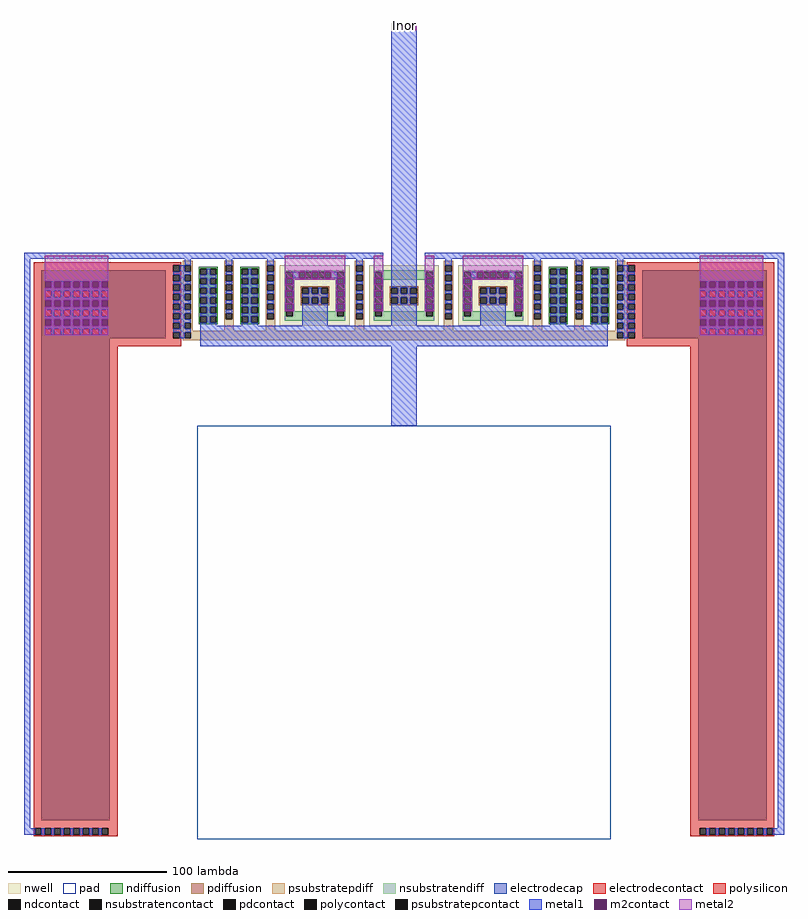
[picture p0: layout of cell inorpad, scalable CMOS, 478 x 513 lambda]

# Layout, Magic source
magic
tech scmos
<< nwell >>
rect 159 323 203 361
rect 215 323 259 361
rect 271 323 315 361
<< electrodecontact >>
rect 11 341 15 345
rect 17 341 21 345
rect 23 341 27 345
rect 29 341 33 345
rect 35 341 39 345
rect 41 341 45 345
rect 47 341 51 345
rect 11 329 15 333
rect 17 329 21 333
rect 23 329 27 333
rect 29 329 33 333
rect 35 329 39 333
rect 41 329 45 333
rect 47 329 51 333
rect 11 317 15 321
rect 17 317 21 321
rect 23 317 27 321
rect 29 317 33 321
rect 35 317 39 321
rect 41 317 45 321
rect 47 317 51 321
rect 423 341 427 345
rect 429 341 433 345
rect 435 341 439 345
rect 441 341 445 345
rect 447 341 451 345
rect 453 341 457 345
rect 459 341 463 345
rect 423 329 427 333
rect 429 329 433 333
rect 435 329 439 333
rect 441 329 445 333
rect 447 329 451 333
rect 453 329 457 333
rect 459 329 463 333
rect 423 317 427 321
rect 429 317 433 321
rect 435 317 439 321
rect 441 317 445 321
rect 447 317 451 321
rect 453 317 457 321
rect 459 317 463 321
<< electrodecap >>
rect 9 315 87 358
rect 387 315 465 358
rect 9 12 52 315
rect 422 12 465 315
<< ndiffusion >>
rect 108 359 120 360
rect 108 355 109 359
rect 113 355 115 359
rect 119 355 120 359
rect 108 353 120 355
rect 108 349 109 353
rect 113 349 115 353
rect 119 349 120 353
rect 108 347 120 349
rect 108 343 109 347
rect 113 343 115 347
rect 119 343 120 347
rect 108 341 120 343
rect 108 337 109 341
rect 113 337 115 341
rect 119 337 120 341
rect 108 335 120 337
rect 108 331 109 335
rect 113 331 115 335
rect 119 331 120 335
rect 108 329 120 331
rect 108 325 109 329
rect 113 325 115 329
rect 119 325 120 329
rect 108 324 120 325
rect 134 359 146 360
rect 134 355 135 359
rect 139 355 141 359
rect 145 355 146 359
rect 134 353 146 355
rect 134 349 135 353
rect 139 349 141 353
rect 145 349 146 353
rect 134 347 146 349
rect 134 343 135 347
rect 139 343 141 347
rect 145 343 146 347
rect 134 341 146 343
rect 134 337 135 341
rect 139 337 141 341
rect 145 337 146 341
rect 134 335 146 337
rect 134 331 135 335
rect 139 331 141 335
rect 145 331 146 335
rect 134 329 146 331
rect 134 325 135 329
rect 139 325 141 329
rect 145 325 146 329
rect 134 324 146 325
rect 328 359 340 360
rect 328 355 329 359
rect 333 355 335 359
rect 339 355 340 359
rect 328 353 340 355
rect 328 349 329 353
rect 333 349 335 353
rect 339 349 340 353
rect 328 347 340 349
rect 328 343 329 347
rect 333 343 335 347
rect 339 343 340 347
rect 328 341 340 343
rect 328 337 329 341
rect 333 337 335 341
rect 339 337 340 341
rect 328 335 340 337
rect 328 331 329 335
rect 333 331 335 335
rect 339 331 340 335
rect 328 329 340 331
rect 328 325 329 329
rect 333 325 335 329
rect 339 325 340 329
rect 328 324 340 325
rect 354 359 366 360
rect 354 355 355 359
rect 359 355 361 359
rect 365 355 366 359
rect 354 353 366 355
rect 354 349 355 353
rect 359 349 361 353
rect 365 349 366 353
rect 354 347 366 349
rect 354 343 355 347
rect 359 343 361 347
rect 365 343 366 347
rect 354 341 366 343
rect 354 337 355 341
rect 359 337 361 341
rect 365 337 366 341
rect 354 335 366 337
rect 354 331 355 335
rect 359 331 361 335
rect 365 331 366 335
rect 354 329 366 331
rect 354 325 355 329
rect 359 325 361 329
rect 365 325 366 329
rect 354 324 366 325
<< pdiffusion >>
rect 172 347 190 348
rect 172 343 173 347
rect 177 343 179 347
rect 183 343 185 347
rect 189 343 190 347
rect 172 341 190 343
rect 172 337 173 341
rect 177 337 179 341
rect 183 337 185 341
rect 189 337 190 341
rect 172 336 190 337
rect 228 347 246 348
rect 228 343 229 347
rect 233 343 235 347
rect 239 343 241 347
rect 245 343 246 347
rect 228 341 246 343
rect 228 337 229 341
rect 233 337 235 341
rect 239 337 241 341
rect 245 337 246 341
rect 228 336 246 337
rect 284 347 302 348
rect 284 343 285 347
rect 289 343 291 347
rect 295 343 297 347
rect 301 343 302 347
rect 284 341 302 343
rect 284 337 285 341
rect 289 337 291 341
rect 295 337 297 341
rect 301 337 302 341
rect 284 336 302 337
<< ndcontact >>
rect 109 355 113 359
rect 115 355 119 359
rect 109 349 113 353
rect 115 349 119 353
rect 109 343 113 347
rect 115 343 119 347
rect 109 337 113 341
rect 115 337 119 341
rect 109 331 113 335
rect 115 331 119 335
rect 109 325 113 329
rect 115 325 119 329
rect 135 355 139 359
rect 141 355 145 359
rect 135 349 139 353
rect 141 349 145 353
rect 135 343 139 347
rect 141 343 145 347
rect 135 337 139 341
rect 141 337 145 341
rect 135 331 139 335
rect 141 331 145 335
rect 135 325 139 329
rect 141 325 145 329
rect 329 355 333 359
rect 335 355 339 359
rect 329 349 333 353
rect 335 349 339 353
rect 329 343 333 347
rect 335 343 339 347
rect 329 337 333 341
rect 335 337 339 341
rect 329 331 333 335
rect 335 331 339 335
rect 329 325 333 329
rect 335 325 339 329
rect 355 355 359 359
rect 361 355 365 359
rect 355 349 359 353
rect 361 349 365 353
rect 355 343 359 347
rect 361 343 365 347
rect 355 337 359 341
rect 361 337 365 341
rect 355 331 359 335
rect 361 331 365 335
rect 355 325 359 329
rect 361 325 365 329
<< pdcontact >>
rect 173 343 177 347
rect 179 343 183 347
rect 185 343 189 347
rect 173 337 177 341
rect 179 337 183 341
rect 185 337 189 341
rect 229 343 233 347
rect 235 343 239 347
rect 241 343 245 347
rect 229 337 233 341
rect 235 337 239 341
rect 241 337 245 341
rect 285 343 289 347
rect 291 343 295 347
rect 297 343 301 347
rect 285 337 289 341
rect 291 337 295 341
rect 297 337 301 341
<< psubstratepdiff >>
rect 98 361 104 364
rect 98 357 99 361
rect 103 357 104 361
rect 124 361 130 364
rect 98 355 104 357
rect 98 351 99 355
rect 103 351 104 355
rect 98 349 104 351
rect 98 345 99 349
rect 103 345 104 349
rect 98 343 104 345
rect 98 339 99 343
rect 103 339 104 343
rect 98 337 104 339
rect 98 333 99 337
rect 103 333 104 337
rect 98 331 104 333
rect 98 327 99 331
rect 103 327 104 331
rect 98 325 104 327
rect 98 321 99 325
rect 103 321 104 325
rect 124 357 125 361
rect 129 357 130 361
rect 150 361 156 364
rect 124 355 130 357
rect 124 351 125 355
rect 129 351 130 355
rect 124 349 130 351
rect 124 345 125 349
rect 129 345 130 349
rect 124 343 130 345
rect 124 339 125 343
rect 129 339 130 343
rect 124 337 130 339
rect 124 333 125 337
rect 129 333 130 337
rect 124 331 130 333
rect 124 327 125 331
rect 129 327 130 331
rect 98 320 104 321
rect 124 320 130 327
rect 150 357 151 361
rect 155 357 156 361
rect 206 361 212 364
rect 150 355 156 357
rect 150 351 151 355
rect 155 351 156 355
rect 150 349 156 351
rect 150 345 151 349
rect 155 345 156 349
rect 150 343 156 345
rect 150 339 151 343
rect 155 339 156 343
rect 150 337 156 339
rect 150 333 151 337
rect 155 333 156 337
rect 150 331 156 333
rect 150 327 151 331
rect 155 327 156 331
rect 150 320 156 327
rect 206 357 207 361
rect 211 357 212 361
rect 262 361 268 364
rect 206 355 212 357
rect 206 351 207 355
rect 211 351 212 355
rect 206 349 212 351
rect 206 345 207 349
rect 211 345 212 349
rect 206 343 212 345
rect 206 339 207 343
rect 211 339 212 343
rect 206 337 212 339
rect 206 333 207 337
rect 211 333 212 337
rect 206 331 212 333
rect 206 327 207 331
rect 211 327 212 331
rect 206 320 212 327
rect 262 357 263 361
rect 267 357 268 361
rect 318 361 324 364
rect 262 355 268 357
rect 262 351 263 355
rect 267 351 268 355
rect 262 349 268 351
rect 262 345 263 349
rect 267 345 268 349
rect 262 343 268 345
rect 262 339 263 343
rect 267 339 268 343
rect 262 337 268 339
rect 262 333 263 337
rect 267 333 268 337
rect 262 331 268 333
rect 262 327 263 331
rect 267 327 268 331
rect 262 320 268 327
rect 318 357 319 361
rect 323 357 324 361
rect 344 361 350 364
rect 318 355 324 357
rect 318 351 319 355
rect 323 351 324 355
rect 318 349 324 351
rect 318 345 319 349
rect 323 345 324 349
rect 318 343 324 345
rect 318 339 319 343
rect 323 339 324 343
rect 318 337 324 339
rect 318 333 319 337
rect 323 333 324 337
rect 318 331 324 333
rect 318 327 319 331
rect 323 327 324 331
rect 318 320 324 327
rect 344 357 345 361
rect 349 357 350 361
rect 370 361 376 364
rect 344 355 350 357
rect 344 351 345 355
rect 349 351 350 355
rect 344 349 350 351
rect 344 345 345 349
rect 349 345 350 349
rect 344 343 350 345
rect 344 339 345 343
rect 349 339 350 343
rect 344 337 350 339
rect 344 333 345 337
rect 349 333 350 337
rect 344 331 350 333
rect 344 327 345 331
rect 349 327 350 331
rect 344 320 350 327
rect 370 357 371 361
rect 375 357 376 361
rect 370 355 376 357
rect 370 351 371 355
rect 375 351 376 355
rect 370 349 376 351
rect 370 345 371 349
rect 375 345 376 349
rect 370 343 376 345
rect 370 339 371 343
rect 375 339 376 343
rect 370 337 376 339
rect 370 333 371 337
rect 375 333 376 337
rect 370 331 376 333
rect 370 327 371 331
rect 375 327 376 331
rect 370 325 376 327
rect 370 321 371 325
rect 375 321 376 325
rect 370 320 376 321
rect 98 319 376 320
rect 98 315 99 319
rect 103 315 371 319
rect 375 315 376 319
rect 98 314 376 315
<< nsubstratendiff >>
rect 162 357 200 358
rect 162 353 163 357
rect 167 353 175 357
rect 179 353 183 357
rect 187 353 195 357
rect 199 353 200 357
rect 162 352 200 353
rect 162 349 168 352
rect 162 345 163 349
rect 167 345 168 349
rect 194 349 200 352
rect 162 341 168 345
rect 162 337 163 341
rect 167 337 168 341
rect 162 333 168 337
rect 194 345 195 349
rect 199 345 200 349
rect 194 341 200 345
rect 194 337 195 341
rect 199 337 200 341
rect 162 329 163 333
rect 167 332 168 333
rect 194 333 200 337
rect 194 332 195 333
rect 167 329 195 332
rect 199 329 200 333
rect 162 326 200 329
rect 218 357 256 358
rect 218 353 219 357
rect 223 353 251 357
rect 255 353 256 357
rect 218 352 256 353
rect 218 349 224 352
rect 218 345 219 349
rect 223 345 224 349
rect 250 349 256 352
rect 218 341 224 345
rect 218 337 219 341
rect 223 337 224 341
rect 218 333 224 337
rect 250 345 251 349
rect 255 345 256 349
rect 250 341 256 345
rect 250 337 251 341
rect 255 337 256 341
rect 218 329 219 333
rect 223 332 224 333
rect 250 333 256 337
rect 250 332 251 333
rect 223 329 251 332
rect 255 329 256 333
rect 218 326 256 329
rect 274 357 312 358
rect 274 353 275 357
rect 279 353 287 357
rect 291 353 295 357
rect 299 353 307 357
rect 311 353 312 357
rect 274 352 312 353
rect 274 349 280 352
rect 274 345 275 349
rect 279 345 280 349
rect 306 349 312 352
rect 274 341 280 345
rect 274 337 275 341
rect 279 337 280 341
rect 274 333 280 337
rect 306 345 307 349
rect 311 345 312 349
rect 306 341 312 345
rect 306 337 307 341
rect 311 337 312 341
rect 274 329 275 333
rect 279 332 280 333
rect 306 333 312 337
rect 306 332 307 333
rect 279 329 307 332
rect 311 329 312 333
rect 274 326 312 329
<< psubstratepcontact >>
rect 99 357 103 361
rect 99 351 103 355
rect 99 345 103 349
rect 99 339 103 343
rect 99 333 103 337
rect 99 327 103 331
rect 99 321 103 325
rect 125 357 129 361
rect 125 351 129 355
rect 125 345 129 349
rect 125 339 129 343
rect 125 333 129 337
rect 125 327 129 331
rect 151 357 155 361
rect 151 351 155 355
rect 151 345 155 349
rect 151 339 155 343
rect 151 333 155 337
rect 151 327 155 331
rect 207 357 211 361
rect 207 351 211 355
rect 207 345 211 349
rect 207 339 211 343
rect 207 333 211 337
rect 207 327 211 331
rect 263 357 267 361
rect 263 351 267 355
rect 263 345 267 349
rect 263 339 267 343
rect 263 333 267 337
rect 263 327 267 331
rect 319 357 323 361
rect 319 351 323 355
rect 319 345 323 349
rect 319 339 323 343
rect 319 333 323 337
rect 319 327 323 331
rect 345 357 349 361
rect 345 351 349 355
rect 345 345 349 349
rect 345 339 349 343
rect 345 333 349 337
rect 345 327 349 331
rect 371 357 375 361
rect 371 351 375 355
rect 371 345 375 349
rect 371 339 375 343
rect 371 333 375 337
rect 371 327 375 331
rect 371 321 375 325
rect 99 315 103 319
rect 371 315 375 319
<< nsubstratencontact >>
rect 163 353 167 357
rect 175 353 179 357
rect 183 353 187 357
rect 195 353 199 357
rect 163 345 167 349
rect 163 337 167 341
rect 195 345 199 349
rect 195 337 199 341
rect 163 329 167 333
rect 195 329 199 333
rect 219 353 223 357
rect 251 353 255 357
rect 219 345 223 349
rect 219 337 223 341
rect 251 345 255 349
rect 251 337 255 341
rect 219 329 223 333
rect 251 329 255 333
rect 275 353 279 357
rect 287 353 291 357
rect 295 353 299 357
rect 307 353 311 357
rect 275 345 279 349
rect 275 337 279 341
rect 307 345 311 349
rect 307 337 311 341
rect 275 329 279 333
rect 307 329 311 333
<< polysilicon >>
rect 4 361 97 363
rect 4 357 92 361
rect 96 357 97 361
rect 4 355 97 357
rect 4 351 92 355
rect 96 351 97 355
rect 4 349 97 351
rect 4 345 92 349
rect 96 345 97 349
rect 4 343 97 345
rect 4 339 92 343
rect 96 339 97 343
rect 4 337 97 339
rect 4 333 92 337
rect 96 333 97 337
rect 4 331 97 333
rect 4 327 92 331
rect 96 327 97 331
rect 4 325 97 327
rect 4 321 92 325
rect 96 321 97 325
rect 4 319 97 321
rect 4 315 92 319
rect 96 315 97 319
rect 4 310 97 315
rect 377 361 470 363
rect 377 357 378 361
rect 382 357 470 361
rect 377 355 470 357
rect 377 351 378 355
rect 382 351 470 355
rect 377 349 470 351
rect 377 345 378 349
rect 382 345 470 349
rect 377 343 470 345
rect 377 339 378 343
rect 382 339 470 343
rect 377 337 470 339
rect 377 333 378 337
rect 382 333 470 337
rect 377 331 470 333
rect 377 327 378 331
rect 382 327 470 331
rect 377 325 470 327
rect 377 321 378 325
rect 382 321 470 325
rect 377 319 470 321
rect 377 315 378 319
rect 382 315 470 319
rect 377 310 470 315
rect 4 7 57 310
rect 4 3 5 7
rect 9 3 11 7
rect 15 3 17 7
rect 21 3 23 7
rect 27 3 29 7
rect 33 3 35 7
rect 39 3 41 7
rect 45 3 47 7
rect 51 3 57 7
rect 4 2 57 3
rect 417 7 470 310
rect 417 3 423 7
rect 427 3 429 7
rect 433 3 435 7
rect 439 3 441 7
rect 445 3 447 7
rect 451 3 453 7
rect 457 3 459 7
rect 463 3 465 7
rect 469 3 470 7
rect 417 2 470 3
<< polycontact >>
rect 92 357 96 361
rect 92 351 96 355
rect 92 345 96 349
rect 92 339 96 343
rect 92 333 96 337
rect 92 327 96 331
rect 92 321 96 325
rect 92 315 96 319
rect 378 357 382 361
rect 378 351 382 355
rect 378 345 382 349
rect 378 339 382 343
rect 378 333 382 337
rect 378 327 382 331
rect 378 321 382 325
rect 378 315 382 319
rect 5 3 9 7
rect 11 3 15 7
rect 17 3 21 7
rect 23 3 27 7
rect 29 3 33 7
rect 35 3 39 7
rect 41 3 45 7
rect 47 3 51 7
rect 423 3 427 7
rect 429 3 433 7
rect 435 3 439 7
rect 441 3 445 7
rect 447 3 451 7
rect 453 3 457 7
rect 459 3 463 7
rect 465 3 469 7
<< metal1 >>
rect 229 509 230 513
rect 244 509 245 513
rect -2 365 224 369
rect -2 7 2 365
rect 99 361 103 365
rect 96 357 99 361
rect 125 361 129 365
rect 92 355 103 357
rect 96 351 99 355
rect 15 347 17 351
rect 21 347 23 351
rect 27 347 29 351
rect 33 347 35 351
rect 39 347 41 351
rect 45 347 47 351
rect 11 345 51 347
rect 15 341 17 345
rect 21 341 23 345
rect 27 341 29 345
rect 33 341 35 345
rect 39 341 41 345
rect 45 341 47 345
rect 11 339 51 341
rect 15 335 17 339
rect 21 335 23 339
rect 27 335 29 339
rect 33 335 35 339
rect 39 335 41 339
rect 45 335 47 339
rect 11 333 51 335
rect 15 329 17 333
rect 21 329 23 333
rect 27 329 29 333
rect 33 329 35 333
rect 39 329 41 333
rect 45 329 47 333
rect 11 327 51 329
rect 15 323 17 327
rect 21 323 23 327
rect 27 323 29 327
rect 33 323 35 327
rect 39 323 41 327
rect 45 323 47 327
rect 11 321 51 323
rect 15 317 17 321
rect 21 317 23 321
rect 27 317 29 321
rect 33 317 35 321
rect 39 317 41 321
rect 45 317 47 321
rect 92 349 103 351
rect 96 345 99 349
rect 92 343 103 345
rect 96 339 99 343
rect 92 337 103 339
rect 96 333 99 337
rect 92 331 103 333
rect 96 327 99 331
rect 92 325 103 327
rect 96 321 99 325
rect 92 319 103 321
rect 96 315 99 319
rect 113 355 115 359
rect 109 353 119 355
rect 113 349 115 353
rect 109 347 119 349
rect 113 343 115 347
rect 109 341 119 343
rect 113 337 115 341
rect 109 335 119 337
rect 113 331 115 335
rect 109 329 119 331
rect 113 325 115 329
rect 151 361 155 365
rect 125 355 129 357
rect 125 349 129 351
rect 125 343 129 345
rect 125 337 129 339
rect 125 331 129 333
rect 139 355 141 359
rect 135 353 145 355
rect 139 349 141 353
rect 135 347 145 349
rect 139 343 141 347
rect 135 341 145 343
rect 139 337 141 341
rect 135 335 145 337
rect 139 331 141 335
rect 135 329 145 331
rect 109 323 119 325
rect 139 325 141 329
rect 207 361 211 365
rect 151 355 155 357
rect 151 349 155 351
rect 151 343 155 345
rect 151 337 155 339
rect 151 331 155 333
rect 167 353 171 357
rect 191 353 195 357
rect 177 343 179 347
rect 183 343 185 347
rect 173 341 189 343
rect 177 337 179 341
rect 183 337 185 341
rect 135 323 145 325
rect 173 323 189 337
rect 207 355 211 357
rect 207 349 211 351
rect 207 343 211 345
rect 207 337 211 339
rect 207 331 211 333
rect 229 347 245 509
rect 250 365 476 369
rect 263 361 267 365
rect 319 361 323 365
rect 345 361 349 365
rect 233 343 235 347
rect 239 343 241 347
rect 229 341 245 343
rect 233 337 235 341
rect 239 337 241 341
rect 229 323 245 337
rect 263 355 267 357
rect 263 349 267 351
rect 263 343 267 345
rect 263 337 267 339
rect 263 331 267 333
rect 279 353 283 357
rect 303 353 307 357
rect 289 343 291 347
rect 295 343 297 347
rect 285 341 301 343
rect 289 337 291 341
rect 295 337 297 341
rect 285 323 301 337
rect 319 355 323 357
rect 319 349 323 351
rect 319 343 323 345
rect 319 337 323 339
rect 319 331 323 333
rect 333 355 335 359
rect 329 353 339 355
rect 333 349 335 353
rect 329 347 339 349
rect 333 343 335 347
rect 329 341 339 343
rect 333 337 335 341
rect 329 335 339 337
rect 333 331 335 335
rect 329 329 339 331
rect 333 325 335 329
rect 371 361 375 365
rect 345 355 349 357
rect 345 349 349 351
rect 345 343 349 345
rect 345 337 349 339
rect 345 331 349 333
rect 359 355 361 359
rect 355 353 365 355
rect 359 349 361 353
rect 355 347 365 349
rect 359 343 361 347
rect 355 341 365 343
rect 359 337 361 341
rect 355 335 365 337
rect 359 331 361 335
rect 355 329 365 331
rect 329 323 339 325
rect 359 325 361 329
rect 355 323 365 325
rect 109 310 365 323
rect 375 357 378 361
rect 371 355 382 357
rect 375 351 378 355
rect 371 349 382 351
rect 375 345 378 349
rect 371 343 382 345
rect 375 339 378 343
rect 371 337 382 339
rect 375 333 378 337
rect 371 331 382 333
rect 375 327 378 331
rect 371 325 382 327
rect 375 321 378 325
rect 371 319 382 321
rect 375 315 378 319
rect 427 347 429 351
rect 433 347 435 351
rect 439 347 441 351
rect 445 347 447 351
rect 451 347 453 351
rect 457 347 459 351
rect 423 345 463 347
rect 427 341 429 345
rect 433 341 435 345
rect 439 341 441 345
rect 445 341 447 345
rect 451 341 453 345
rect 457 341 459 345
rect 423 339 463 341
rect 427 335 429 339
rect 433 335 435 339
rect 439 335 441 339
rect 445 335 447 339
rect 451 335 453 339
rect 457 335 459 339
rect 423 333 463 335
rect 427 329 429 333
rect 433 329 435 333
rect 439 329 441 333
rect 445 329 447 333
rect 451 329 453 333
rect 457 329 459 333
rect 423 327 463 329
rect 427 323 429 327
rect 433 323 435 327
rect 439 323 441 327
rect 445 323 447 327
rect 451 323 453 327
rect 457 323 459 327
rect 423 321 463 323
rect 427 317 429 321
rect 433 317 435 321
rect 439 317 441 321
rect 445 317 447 321
rect 451 317 453 321
rect 457 317 459 321
rect 229 260 245 310
rect 472 7 476 365
rect -2 3 5 7
rect 9 3 11 7
rect 15 3 17 7
rect 21 3 23 7
rect 27 3 29 7
rect 33 3 35 7
rect 39 3 41 7
rect 45 3 47 7
rect 427 3 429 7
rect 433 3 435 7
rect 439 3 441 7
rect 445 3 447 7
rect 451 3 453 7
rect 457 3 459 7
rect 463 3 465 7
rect 469 3 476 7
<< m2contact >>
rect 230 509 244 513
rect 11 347 15 351
rect 17 347 21 351
rect 23 347 27 351
rect 29 347 33 351
rect 35 347 39 351
rect 41 347 45 351
rect 47 347 51 351
rect 11 335 15 339
rect 17 335 21 339
rect 23 335 27 339
rect 29 335 33 339
rect 35 335 39 339
rect 41 335 45 339
rect 47 335 51 339
rect 11 323 15 327
rect 17 323 21 327
rect 23 323 27 327
rect 29 323 33 327
rect 35 323 39 327
rect 41 323 45 327
rect 47 323 51 327
rect 171 353 175 357
rect 179 353 183 357
rect 187 353 191 357
rect 163 349 167 353
rect 195 349 199 353
rect 163 341 167 345
rect 163 333 167 337
rect 195 341 199 345
rect 195 333 199 337
rect 219 349 223 353
rect 219 341 223 345
rect 219 333 223 337
rect 251 349 255 353
rect 251 341 255 345
rect 251 333 255 337
rect 283 353 287 357
rect 291 353 295 357
rect 299 353 303 357
rect 275 349 279 353
rect 307 349 311 353
rect 275 341 279 345
rect 275 333 279 337
rect 307 341 311 345
rect 307 333 311 337
rect 423 347 427 351
rect 429 347 433 351
rect 435 347 439 351
rect 441 347 445 351
rect 447 347 451 351
rect 453 347 457 351
rect 459 347 463 351
rect 423 335 427 339
rect 429 335 433 339
rect 435 335 439 339
rect 441 335 445 339
rect 447 335 451 339
rect 453 335 457 339
rect 459 335 463 339
rect 423 323 427 327
rect 429 323 433 327
rect 435 323 439 327
rect 441 323 445 327
rect 447 323 451 327
rect 453 323 457 327
rect 459 323 463 327
<< metal2 >>
rect 229 509 230 513
rect 244 509 245 513
rect 11 351 51 367
rect 15 347 17 351
rect 21 347 23 351
rect 27 347 29 351
rect 33 347 35 351
rect 39 347 41 351
rect 45 347 47 351
rect 11 339 51 347
rect 15 335 17 339
rect 21 335 23 339
rect 27 335 29 339
rect 33 335 35 339
rect 39 335 41 339
rect 45 335 47 339
rect 11 327 51 335
rect 162 357 200 367
rect 162 353 171 357
rect 175 353 179 357
rect 183 353 187 357
rect 191 353 200 357
rect 162 349 163 353
rect 167 352 195 353
rect 167 349 168 352
rect 162 345 168 349
rect 162 341 163 345
rect 167 341 168 345
rect 162 337 168 341
rect 162 333 163 337
rect 167 333 168 337
rect 162 332 168 333
rect 194 349 195 352
rect 199 349 200 353
rect 194 345 200 349
rect 194 341 195 345
rect 199 341 200 345
rect 194 337 200 341
rect 194 333 195 337
rect 199 333 200 337
rect 194 332 200 333
rect 218 353 224 367
rect 218 349 219 353
rect 223 349 224 353
rect 218 345 224 349
rect 218 341 219 345
rect 223 341 224 345
rect 218 337 224 341
rect 218 333 219 337
rect 223 333 224 337
rect 218 332 224 333
rect 250 353 256 367
rect 250 349 251 353
rect 255 349 256 353
rect 250 345 256 349
rect 250 341 251 345
rect 255 341 256 345
rect 250 337 256 341
rect 250 333 251 337
rect 255 333 256 337
rect 250 332 256 333
rect 274 357 312 367
rect 274 353 283 357
rect 287 353 291 357
rect 295 353 299 357
rect 303 353 312 357
rect 274 349 275 353
rect 279 352 307 353
rect 279 349 280 352
rect 274 345 280 349
rect 274 341 275 345
rect 279 341 280 345
rect 274 337 280 341
rect 274 333 275 337
rect 279 333 280 337
rect 274 332 280 333
rect 306 349 307 352
rect 311 349 312 353
rect 306 345 312 349
rect 306 341 307 345
rect 311 341 312 345
rect 306 337 312 341
rect 306 333 307 337
rect 311 333 312 337
rect 306 332 312 333
rect 423 351 463 367
rect 427 347 429 351
rect 433 347 435 351
rect 439 347 441 351
rect 445 347 447 351
rect 451 347 453 351
rect 457 347 459 351
rect 423 339 463 347
rect 427 335 429 339
rect 433 335 435 339
rect 439 335 441 339
rect 445 335 447 339
rect 451 335 453 339
rect 457 335 459 339
rect 15 323 17 327
rect 21 323 23 327
rect 27 323 29 327
rect 33 323 35 327
rect 39 323 41 327
rect 45 323 47 327
rect 11 317 51 323
rect 423 327 463 335
rect 427 323 429 327
rect 433 323 435 327
rect 439 323 441 327
rect 445 323 447 327
rect 451 323 453 327
rect 457 323 459 327
rect 423 317 463 323
use bondingpad  bondingpad_0
transform 1 0 107 0 1 0
box 0 0 260 260
<< labels >>
rlabel m2contact 237 512 237 512 6 Inor
<< end >>

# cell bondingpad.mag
magic
tech scmos
<< pad >>
rect 0 0 260 260
<< end >>
